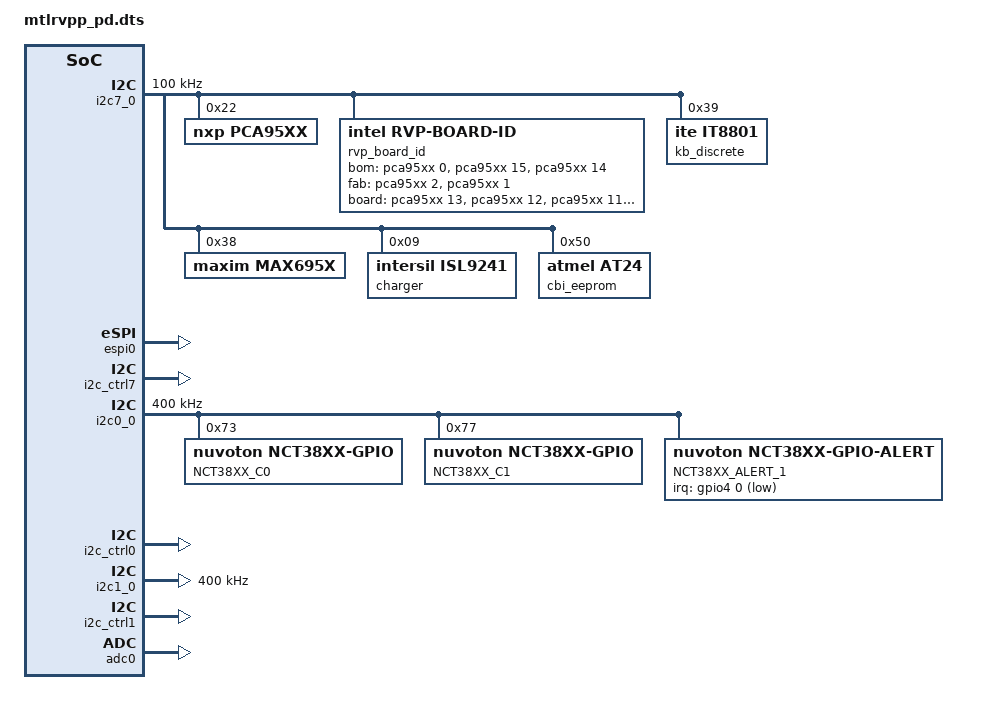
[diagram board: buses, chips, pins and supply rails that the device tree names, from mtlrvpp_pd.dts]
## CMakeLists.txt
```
# Copyright 2022 The ChromiumOS Authors
# Use of this source code is governed by a BSD-style license that can be
# found in the LICENSE file.

zephyr_library_sources("src/mtlrvp_pd.c")
zephyr_library_sources("src/usb_config.c")
```

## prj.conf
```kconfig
# Copyright 2023 The ChromiumOS Authors
# Use of this source code is governed by a BSD-style license that can be
# found in the LICENSE file.

CONFIG_BOARD_MTLRVP_PD=y
CONFIG_LOG=y
CONFIG_SMF=y
CONFIG_SMF_ANCESTOR_SUPPORT=y
CONFIG_I2C_SHELL=y
```

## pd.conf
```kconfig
# Copyright 2023 The ChromiumOS Authors
# Use of this source code is governed by a BSD-style license that can be
# found in the LICENSE file.

CONFIG_PLATFORM_EC_CHARGER=n
CONFIG_PLATFORM_EC_USBC=n
```

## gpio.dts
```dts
/* Copyright 2023 The ChromiumOS Authors
 * Use of this source code is governed by a BSD-style license that can be
 * found in the LICENSE file.
 */

/ {
	named-gpios {
		pd_p0p1_intr: tp-gpio95 {
			gpios = <&gpio9 5 (GPIO_INPUT | GPIO_ACTIVE_LOW)>;
		};
		pdpow_p0p1_intr: tp-gpio40 {
			gpios = <&gpio4 0 (GPIO_INPUT | GPIO_ACTIVE_LOW)>;
		};
	};
};
```

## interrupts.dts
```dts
/* Copyright 2023 The ChromiumOS Authors
 * Use of this source code is governed by a BSD-style license that can be
 * found in the LICENSE file.
 */
/ {
	gpio-interrupts {
		int_pd_intr: intel_pd_intr {
			irq-pin = <&pd_p0p1_intr>;
			flags = <GPIO_INT_EDGE_FALLING>;
			handler = "pd_altmode_interrupt";
		};
	};
};

&pd_p0p1_intr {
	no-auto-init;
};
```

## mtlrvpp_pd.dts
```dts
/* Copyright 2022 The ChromiumOS Authors
 * Use of this source code is governed by a BSD-style license that can be
 * found in the LICENSE file.
 */

 #include <dt-bindings/usb_pd_tcpm.h>

/ {
	chosen {
		cros,rtc = &mtc;
	};

	hibernate-wake-pins {
		compatible = "cros-ec,hibernate-wake-pins";
		wakeup-irqs = <
			&int_ac_present
			&int_lid_open
			&int_power_button
			&int_usb_c0_c1_tcpc
			&int_usb_c2_tcpc
			&int_usb_c3_tcpc
		>;
	};

	named-i2c-ports {
		compatible = "named-i2c-ports";

		i2c_charger: charger {
			i2c-port = <&i2c7_0>;
			enum-names = "I2C_PORT_CHARGER",
				"I2C_PORT_BATTERY",
				"I2C_PORT_EEPROM",
				"I2C_PORT_KB_DISCRETE",
				"I2C_PORT_PORT80";
		};
		typec_aic1: typec-aic1{
			i2c-port = <&i2c0_0>;
			enum-names = "I2C_PORT_TYPEC_AIC_1";
		};
		typec_aic2: typec-aic2{
			i2c-port = <&i2c1_0>;
			enum-names = "I2C_PORT_TYPEC_AIC_2";
		};
	};

	named-adc-channels {
		compatible = "named-adc-channels";

		adc_ambient: ambient {
			enum-name = "ADC_TEMP_SENSOR_1";
			io-channels = <&adc0 3>;
		};
		adc_ddr: ddr {
			enum-name = "ADC_TEMP_SENSOR_2";
			io-channels = <&adc0 4>;
		};
		adc_skin: skin {
			enum-name = "ADC_TEMP_SENSOR_3";
			io-channels = <&adc0 2>;
		};
		adc_vr: vr {
			enum-name = "ADC_TEMP_SENSOR_4";
			io-channels = <&adc0 1>;
		};
	};
};

/* charger */
&i2c7_0 {
	label = "I2C_CHARGER";
	status = "okay";
	clock-frequency = <I2C_BITRATE_STANDARD>;
	pinctrl-0 = <&i2c7_0_sda_scl_gpb2_b3>;
	pinctrl-names = "default";

	pca95xx: pca95xx@22 {
		compatible = "nxp,pca95xx";
		label = "PCA95XX";
		reg = <0x22>;
		gpio-controller;
		#gpio-cells = <2>;
		ngpios = <16>;
	};

	rvp_board_id: rvp-board-id {
		compatible = "intel,rvp-board-id";

		/*
		 * BOM ID [2]   : IOEX[0]
		 * BOM ID [1:0] : IOEX[15:14]
		 */
		bom-gpios = <&pca95xx 0 0>, <&pca95xx 15 0>, <&pca95xx 14 0>;

		/*
		 * FAB ID [1:0] : IOEX[2:1]
		 */
		fab-gpios = <&pca95xx 2 0>, <&pca95xx 1 0>;

		/*
		 * BOARD ID[5:0] : IOEX[13:8]
		 */
		board-gpios = <&pca95xx 13 0>, <&pca95xx 12 0>, <&pca95xx 11 0>,
			      <&pca95xx 10 0>, <&pca95xx 9 0>, <&pca95xx 8 0>;
	};

	kb_discrete: ite-it8801@39 {
		compatible = "ite,it8801";
		reg = <0x39>;
	};

	max695x@38 {
		compatible = "maxim,max695x";
		reg = <0x38>;
	};

	charger: isl9241@9 {
		compatible = "intersil,isl9241";
		status = "okay";
		reg = <0x9>;
	};

	cbi_eeprom: eeprom@50 {
		compatible = "atmel,at24";
		reg = <0x50>;
		size = <2048>;
		pagesize = <16>;
		address-width = <8>;
		timeout = <5>;
	};
};

/* host interface */
&espi0 {
	status = "okay";
	pinctrl-0 = <&espi_lpc_gp46_47_51_52_53_54_55_57>;
	pinctrl-names = "default";
};

&i2c_ctrl7 {
	status = "okay";
};

/* typec_aic1 */
&i2c0_0 {
	label = "I2C_USB_C0_C1_TCPC";
	status = "okay";
	clock-frequency = <I2C_BITRATE_FAST>;
	pinctrl-0 = <&i2c0_0_sda_scl_gpb4_b5>;
	pinctrl-names = "default";

	nct38xx_c0: nct38xx_c0@73 {
		#address-cells = <1>;
		#size-cells = <0>;
		compatible = "nuvoton,nct38xx-gpio";
		reg = <0x73>;
		label = "NCT38XX_C0";

		ioex_c0: gpio@0 {
			compatible = "nuvoton,nct38xx-gpio-port";
			reg = <0x0>;
			label = "NCT38XX_C0_GPIO0";
			gpio-controller;
			#gpio-cells = <2>;
			ngpios = <8>;
			pin_mask = <0xdc>;
			pinmux_mask = <0xff>;
		};
	};

	nct38xx_c1: nct38xx_c1@77 {
		#address-cells = <1>;
		#size-cells = <0>;
		compatible = "nuvoton,nct38xx-gpio";
		reg = <0x77>;
		label = "NCT38XX_C1";

		ioex_c1: gpio@0 {
			compatible = "nuvoton,nct38xx-gpio-port";
			reg = <0x0>;
			label = "NCT38XX_C1_GPIO0";
			gpio-controller;
			#gpio-cells = <2>;
			ngpios = <8>;
			pin_mask = <0xdc>;
			pinmux_mask = <0xff>;
		};
	};

	nct38xx_alert_0 {
		compatible = "nuvoton,nct38xx-gpio-alert";
		irq-gpios = <&gpio4 0 GPIO_ACTIVE_LOW>;
		nct38xx-dev = <&nct38xx_c0 &nct38xx_c1>;
		label = "NCT38XX_ALERT_1";
	};
};

&i2c_ctrl0 {
	status = "okay";
};

/* typec_aic1 */
&i2c1_0 {
	label = "I2C_USB_C2_C3_TCPC";
	status = "okay";
	clock-frequency = <I2C_BITRATE_FAST>;
	pinctrl-0 = <&i2c1_0_sda_scl_gp87_90>;
	pinctrl-names = "default";
};
&i2c_ctrl1 {
	status = "okay";
};

&adc0 {
	status = "okay";
	pinctrl-0 = <&adc0_chan1_gp44
		     &adc0_chan2_gp43
		     &adc0_chan3_gp42
		     &adc0_chan4_gp41>;
	pinctrl-names = "default";
};
```

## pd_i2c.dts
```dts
/* Copyright 2023 The ChromiumOS Authors
 * Use of this source code is governed by a BSD-style license that can be
 * found in the LICENSE file.
 */

/ {
	named-i2c-ports {
		ec_pd_power: typec-aic1-power {
			i2c-port = <&i2c0_0>;
			enum-names = "I2C_PORT_TYPEC_AIC_1";
		};
		ec_pd_data: typec-aic-data {
			i2c-port = <&i2c5_0>;
			enum-names = "I2C_PORT_TYPEC_DATA";
		};
	};
};

/* typec-aic1-power */
&i2c0_0 {
	label = "I2C_PD_POWER";
	status = "okay";
	clock-frequency = <I2C_BITRATE_FAST>;
	pinctrl-0 = <&i2c0_0_sda_scl_gpb4_b5>;
	pinctrl-names = "default";
	pd_pow_port0: ccgP0@08 {
		compatible = "infineon,ccg8";
		reg = <0x08>;
		irq-gpios = <&gpio4 0 GPIO_ACTIVE_LOW>;
	};
	pd_pow_port1: ccgP1@08 {
		compatible = "infineon,ccg8";
		reg = <0x08>;
		irq-gpios = <&gpio4 0 GPIO_ACTIVE_LOW>;
	};
};

&i2c_ctrl0 {
	status = "okay";
};

/* typec-aic-data */
&i2c5_0 {
	label = "I2C_PD_DATA";
	status = "okay";
	clock-frequency = <I2C_BITRATE_FAST>;
	pinctrl-0 = <&i2c5_0_sda_scl_gp33_36>;
	pinctrl-names = "default";

	pd_port0: ccg@50 {
		compatible = "intel,pd-altmode";
		reg = <0x50>;
		irq-gpios = <&gpio9 5 GPIO_ACTIVE_LOW>;
		irq-flags = <GPIO_INT_EDGE_FALLING>;
	};
	pd_port1: ccg@51 {
		compatible = "intel,pd-altmode";
		reg = <0x51>;
		irq-gpios = <&gpio9 5 GPIO_ACTIVE_LOW>;
		irq-shared;
		irq-flags = <GPIO_INT_EDGE_FALLING>;
	};
};

&i2c_ctrl5 {
	status = "okay";
};
```

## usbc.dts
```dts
/* Copyright 2022 The ChromiumOS Authors
 * Use of this source code is governed by a BSD-style license that can be
 * found in the LICENSE file.
 */

/ {
	usbc {
		#address-cells = <1>;
		#size-cells = <0>;

		usbc_port0: port0@0 {
			compatible = "named-usbc-port";
			reg = <0>;
			chg = <&charger>;
			usb_mux_chain_0: usb-mux-chain-0 {
				compatible = "cros-ec,usb-mux-chain";
				usb-muxes = <&virtual_mux_c0>;
			};
			usb_mux_alt_chain_0: usb-mux-atl-chain-0 {
				compatible = "cros-ec,usb-mux-chain";
				alternative-chain;
				usb-muxes = <&virtual_mux_c0>;
			};
		};
		port0-muxes {
			virtual_mux_c0: virtual-mux-c0 {
				compatible = "cros-ec,usbc-mux-virtual";
			};
		};

		usbc_port1: port1@1 {
			compatible = "named-usbc-port";
			reg = <1>;
			usb_mux_chain_1: usb-mux-chain-1 {
				compatible = "cros-ec,usb-mux-chain";
				usb-muxes = <&virtual_mux_c1>;
			};

			/* TODO:
			 * LP5 doesn't have port 1; should remove PD_C1
			 * task.
			 */
			usb_mux_alt_chain_1: usb-mux-alt-chain-1 {
				compatible = "cros-ec,usb-mux-chain";
				alternative-chain;
				usb-muxes = <&virtual_mux_c1>;
			};
		};
		port1-muxes {
			virtual_mux_c1: virtual-mux-c1 {
				compatible = "cros-ec,usbc-mux-virtual";
			};
		};

		usbc_port2: port2@2 {
			compatible = "named-usbc-port";
			reg = <2>;
			usb_mux_chain_2: usb-mux-chain-2 {
				compatible = "cros-ec,usb-mux-chain";
				usb-muxes = <&virtual_mux_c2>;
			};
			usb_mux_alt_chain_2: usb-mux-alt-chain-2 {
				compatible = "cros-ec,usb-mux-chain";
				alternative-chain;
				usb-muxes = <&virtual_mux_c2>;
			};
		};
		port2-muxes {
			virtual_mux_c2: virtual-mux-c2 {
				compatible = "cros-ec,usbc-mux-virtual";
			};
		};

		usbc_port3: port3@3 {
			compatible = "named-usbc-port";
			reg = <3>;
			usb_mux_chain_3: usb-mux-chain-3 {
				compatible = "cros-ec,usb-mux-chain";
				usb-muxes = <&virtual_mux_c3>;
			};
			usb_mux_alt_chain_3: usb-mux-alt-chain-3 {
				compatible = "cros-ec,usb-mux-chain";
				alternative-chain;
				usb-muxes = <&virtual_mux_c3>;
			};
		};
		port3-muxes {
			virtual_mux_c3: virtual-mux-c3 {
				compatible = "cros-ec,usbc-mux-virtual";
			};
		};
	};
};
```

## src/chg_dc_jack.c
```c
/* Copyright 2023 The ChromiumOS Authors
 * Use of this source code is governed by a BSD-style license that can be
 * found in the LICENSE file.
 */

#include "charge_manager.h"
#include "charge_state.h"
#include "gpio.h"
#include "hooks.h"
#include "intelrvp.h"
#include "tcpm/tcpci.h"

void board_dc_jack_interrupt(enum gpio_signal signal)
{
}
```

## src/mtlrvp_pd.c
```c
/* Copyright 2022 The ChromiumOS Authors
 * Use of this source code is governed by a BSD-style license that can be
 * found in the LICENSE file.
 */

#include "battery.h"
#include "battery_fuel_gauge.h"
#include "charger.h"
#include "common.h"
#include "console.h"
#include "extpower.h"
#include "gpio.h"
#include "gpio/gpio_int.h"
#include "hooks.h"
#include "i2c.h"
#include "intel_rvp_board_id.h"
#include "intelrvp.h"
#include "ioexpander.h"
#include "isl9241.h"
#include "keyboard_raw.h"
#include "power/meteorlake.h"
#include "sn5s330.h"
#include "system.h"
#include "task.h"
#include "tusb1064.h"
#include "usb_mux.h"
#include "usbc/usb_muxes.h"
#include "util.h"
#include "usb_config.h"
#include <zephyr/drivers/espi.h>

#define CPRINTF(format, args...) cprintf(CC_COMMAND, format, ##args)
#define CPRINTS(format, args...) cprints(CC_COMMAND, format, ##args)

static void board_int_init(void)
{
	/* Enable CCD Mode interrupt */
	gpio_enable_dt_interrupt(GPIO_INT_FROM_NODELABEL(int_ccd_mode));

	/* Enable DC jack interrupt */
	gpio_enable_dt_interrupt(GPIO_INT_FROM_NODELABEL(int_dc_jack_present));
}
static int board_pre_task_peripheral_init(void)
{
	/* Initialize all interrupts */
	board_int_init();
	return 0;
}
SYS_INIT(board_pre_task_peripheral_init, APPLICATION,
	 CONFIG_APPLICATION_INIT_PRIORITY);
```

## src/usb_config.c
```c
/* Copyright 2022 The ChromiumOS Authors
 * Use of this source code is governed by a BSD-style license that can be
 * found in the LICENSE file.
 */

#include "common.h"
#include "console.h"
#include "driver/retimer/bb_retimer_public.h"
#include "driver/tcpm/ccgxxf.h"
#include "driver/tcpm/nct38xx.h"
#include "driver/tcpm/tcpci.h"
#include "gpio.h"
#include "gpio/gpio_int.h"
#include "hooks.h"
#include "i2c.h"
#include "intel_rvp_board_id.h"
#include "intelrvp.h"
#include "ioexpander.h"
#include "isl9241.h"
#include "keyboard_raw.h"
#include "power/meteorlake.h"
#include "sn5s330.h"
#include "system.h"
#include "task.h"
#include "tusb1064.h"
#include "usb_mux.h"
#include "usbc/usb_muxes.h"
#include "usbc_ppc.h"
#include "util.h"
#include "usb_config.h"
#include <zephyr/drivers/espi.h>

#define CPRINTF(format, args...) cprintf(CC_COMMAND, format, ##args)
#define CPRINTS(format, args...) cprints(CC_COMMAND, format, ##args)

/* USB-C Configuration Start */

#define MTLP_DDR5_RVP_SKU_BOARD_ID 0x01
#define MTLP_LP5_RVP_SKU_BOARD_ID 0x02
#define MTL_RVP_BOARD_ID(id) ((id)&0x3F)

/* USB-C ports */
enum usbc_port {
	USBC_PORT_C0 = 0,
	USBC_PORT_C1,
#if defined(HAS_TASK_PD_C2)
	USBC_PORT_C2,
	USBC_PORT_C3,
#endif
	USBC_PORT_COUNT
};
BUILD_ASSERT(USBC_PORT_COUNT == CONFIG_USB_PD_PORT_MAX_COUNT);

__override bool board_is_tbt_usb4_port(int port)
{
	bool tbt_usb4 = true;

	switch (MTL_RVP_BOARD_ID(board_get_version())) {
	case MTLP_LP5_RVP_SKU_BOARD_ID:
		/* No retimer on port 0; and port 1 is not available */
		if ((port == USBC_PORT_C0) || (port == USBC_PORT_C1))
			tbt_usb4 = false;
		break;
	default:
		break;
	}
	return tbt_usb4;
}

__override enum tbt_compat_cable_speed board_get_max_tbt_speed(int port)
{
	enum tbt_compat_cable_speed max_speed = TBT_SS_TBT_GEN3;

	switch (MTL_RVP_BOARD_ID(board_get_version())) {
	case MTLP_LP5_RVP_SKU_BOARD_ID:
		if (port == USBC_PORT_C2)
			max_speed = TBT_SS_U32_GEN1_GEN2;
		break;
	default:
		break;
	}

	return max_speed;
}
```
